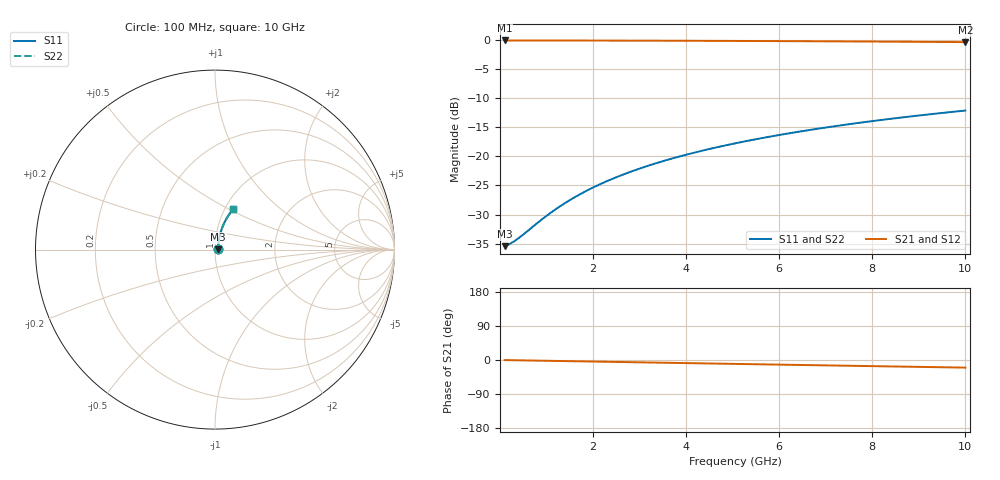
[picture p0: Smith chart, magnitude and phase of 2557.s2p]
# Hz S RI R 50.00
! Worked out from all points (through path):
!   100 points, 100 MHz to 10 GHz, reference 50 ohm
!   highest |S21| = -0.15 dB at 100 MHz (marker M1); lowest = -0.4 dB at 10 GHz (marker M2)
!   group delay of S21, straight-line fit = 5.59 ps
!   lowest |S11| = -35.4 dB at 100 MHz (marker M3), VSWR 1.03, Z = 51.7 + j0.259 ohm
!   |S11| at or under -10 dB: start of sweep to end of sweep
!   |S22| runs from -35.4 to -12.2 dB; largest |S21 - S12| = 0
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1e8  0.0168 0.0025  0.9832 -0.00351  0.9832 -0.00351  0.0168 0.0025
2e8  0.0169 0.005  0.9831 -0.00703  0.9831 -0.00703  0.0169 0.005
3e8  0.0171 0.00749  0.9829 -0.0105  0.9829 -0.0105  0.0171 0.00749
4e8  0.0172 0.00999  0.9828 -0.0141  0.9828 -0.0141  0.0172 0.00999
9e8  0.018 0.0224  0.982 -0.0316  0.982 -0.0316  0.018 0.0224
1.2e9  0.0186 0.0299  0.9813 -0.0421  0.9813 -0.0421  0.0186 0.0299
1.5e9  0.0194 0.0373  0.9804 -0.0526  0.9804 -0.0526  0.0194 0.0373
1.8e9  0.0204 0.0448  0.9794 -0.063  0.9794 -0.063  0.0204 0.0448
2.1e9  0.0215 0.0521  0.9783 -0.0735  0.9783 -0.0735  0.0215 0.0521
2.5e9  0.0232 0.062  0.9764 -0.0874  0.9764 -0.0874  0.0232 0.062
2.9e9  0.0252 0.0717  0.9744 -0.1012  0.9744 -0.1012  0.0252 0.0717
3.4e9  0.028 0.0838  0.9713 -0.1183  0.9713 -0.1183  0.028 0.0838
3.8e9  0.0306 0.0933  0.9686 -0.132  0.9686 -0.132  0.0306 0.0933
4.2e9  0.0334 0.1028  0.9656 -0.1455  0.9656 -0.1455  0.0334 0.1028
4.6e9  0.0365 0.1122  0.9623 -0.159  0.9623 -0.159  0.0365 0.1122
5.1e9  0.0408 0.1237  0.9578 -0.1756  0.9578 -0.1756  0.0408 0.1237
5.9e9  0.0484 0.1418  0.9498 -0.2019  0.9498 -0.2019  0.0484 0.1418
6.7e9  0.0569 0.1594  0.9407 -0.2276  0.9407 -0.2276  0.0569 0.1594
7.5e9  0.0663 0.1763  0.9306 -0.2528  0.9306 -0.2528  0.0663 0.1763
8.4e9  0.078 0.1946  0.9182 -0.2803  0.9182 -0.2803  0.078 0.1946
9.2e9  0.0892 0.2101  0.9063 -0.3041  0.9063 -0.3041  0.0892 0.2101
1e10  0.1012 0.2249  0.8935 -0.3271  0.8935 -0.3271  0.1012 0.2249
